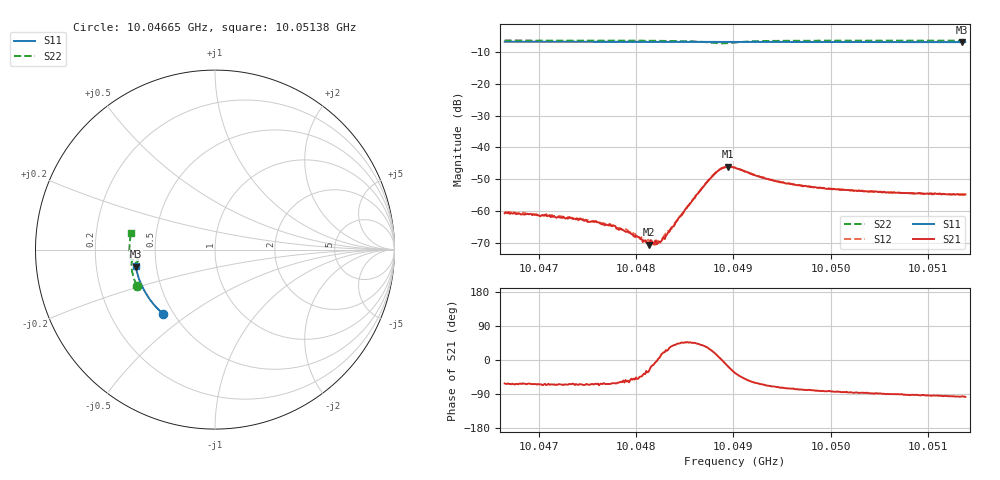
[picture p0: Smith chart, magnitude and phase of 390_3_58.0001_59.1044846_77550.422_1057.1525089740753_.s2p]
#  HZ  S  RI  R  50.00
! Rohde & Schwarz Vector Network Analyzer
! Rohde-Schwarz,ZNB20-2Port,1311601062101988,3.16
! Created: UTC 3/21/2024, 1:07:48 AM
! freq[Hz]  re:S11  im:S11  re:S21  im:S21  re:S12  im:S12  re:S22  im:S22
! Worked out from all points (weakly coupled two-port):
!   401 points, 10.04665 GHz to 10.05138 GHz, reference 50 ohm
!   highest |S21| = -46.08 dB at 10.04895 GHz (marker M1); lowest = -70.5 dB at 10.04813 GHz (marker M2)
!   lowest |S11| = -6.9 dB at 10.05135 GHz (marker M3), VSWR 2.65, Z = 19.1 - j4.53 ohm
!   |S11| at or under -10 dB: nowhere
!   |S22| runs from -7.3 to -6.4 dB; largest |S21 - S12| = 0.00035
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1.004665e10  -0.2905 -0.3571  0.000434 -0.000814  0.000507 -0.000825  -0.4367 -0.2004
1.0047088e10  -0.3119 -0.3374  0.000349 -0.000754  0.000454 -0.000716  -0.4475 -0.1729
1.0047442e10  -0.3281 -0.3204  0.000316 -0.000663  0.000371 -0.00061  -0.4548 -0.1499
1.004775e10  -0.3415 -0.3052  0.000276 -0.000509  0.000311 -0.000493  -0.4604 -0.1288
1.0047916e10  -0.3484 -0.2967  0.000273 -0.000385  0.000336 -0.000364  -0.4627 -0.117
1.0048022e10  -0.3527 -0.2912  0.000256 -0.000299  0.000293 -0.000253  -0.4641 -0.1093
1.0048093e10  -0.3556 -0.2875  0.000275 -0.00021  0.000293 -0.00016  -0.4647 -0.1038
1.0048129e10  -0.357 -0.2857  0.000256 -0.000151  0.000324 -0.000144  -0.465 -0.1012
1.0048176e10  -0.3589 -0.2832  0.00029 -6.98e-05  0.000308 -3.98e-05  -0.4654 -0.0974
1.0048235e10  -0.3612 -0.28  0.000333 2.83e-05  0.000324 1.24e-05  -0.4657 -0.0927
1.0048271e10  -0.3626 -0.2783  0.000342 0.000107  0.000357 0.000105  -0.4658 -0.0898
1.0048365e10  -0.3662 -0.2731  0.000448 0.000328  0.000424 0.000317  -0.4657 -0.0817
1.0048507e10  -0.3715 -0.2653  0.000735 0.000786  0.000715 0.000817  -0.4636 -0.0687
1.0048756e10  -0.3801 -0.2515  0.0028 0.0015  0.0027 0.00171  -0.4446 -0.0481
1.0048862e10  -0.3835 -0.2456  0.00448 0.00038  0.0045 0.000676  -0.4306 -0.0545
1.0048945e10  -0.3863 -0.2411  0.00475 -0.00146  0.00485 -0.00119  -0.4313 -0.0674
1.0049016e10  -0.3887 -0.2373  0.00397 -0.00268  0.00418 -0.00241  -0.4407 -0.0733
1.0049418e10  -0.4014 -0.2141  0.00102 -0.00281  0.00114 -0.00278  -0.471 -0.0444
1.0049809e10  -0.4124 -0.1907  0.000419 -0.00233  0.000542 -0.00232  -0.4759 -0.0135
1.0050601e10  -0.4302 -0.142  3.32e-07 -0.00195  0.000131 -0.00194  -0.4748 0.0424
1.0051347e10  -0.442 -0.0947  -0.000199 -0.00182  -0.00011 -0.00183  -0.4674 0.0918
1.0051382e10  -0.4426 -0.0924  -0.000234 -0.00181  -0.000107 -0.00183  -0.4669 0.0942
